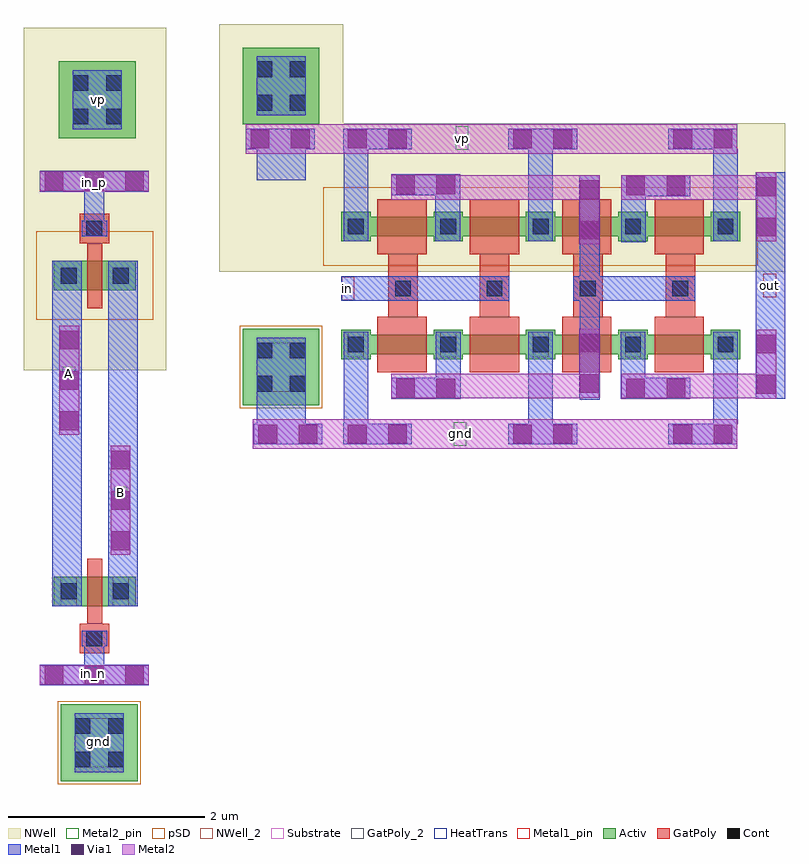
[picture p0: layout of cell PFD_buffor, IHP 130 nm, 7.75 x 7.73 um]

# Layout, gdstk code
import gdstk
lib = gdstk.Library(unit=1e-6, precision=1e-09)
def R(c, l, rs):  # rectangles x0, y0, x1, y1
    for r in rs: c.add(gdstk.rectangle(r[:2], r[2:], *l))
def A(c, l, x, y, w, h, nx, ny, dx, dy):  # array of equal rectangles
    R(c, l, [(x+i*dx, y+j*dy, x+i*dx+w, y+j*dy+h) for i in range(nx) for j in range(ny)])
Activ = (1, 0)
GatPoly = (5, 0)
GatPoly_2 = (5, 2)
Cont = (6, 0)
Metal1 = (8, 0)
Metal1_pin = (8, 2)
Metal2 = (10, 0)
Metal2_pin = (10, 2)
pSD = (14, 0)
Via1 = (19, 0)
NWell = (31, 0)
NWell_2 = (31, 2)
Substrate = (40, 0)
HeatTrans = (51, 0)

pmos = lib.new_cell('pmos')
A(pmos, Activ, 0, 0, 0.3, 0.3, 3, 1, 0.94, 0)
R(pmos, Activ, [(0,0.05,2.18,0.25)])
R(pmos, GatPoly, [(0.37,-0.13,0.87,0.43), (0.37,-0.13,0.87,0.43), (1.31,-0.13,1.81,0.43)])
A(pmos, Cont, 0.07, 0.07, 0.16, 0.16, 3, 1, 0.94, 0)
R(pmos, Metal1, [(0.07,0.02,0.23,0.28), (0.07,0.02,0.23,0.28), (1.01,0.02,1.17,0.28), (1.01,0.02,1.17,0.28), (1.95,0.02,2.11,0.28)])
R(pmos, pSD, [(-0.18,-0.25,2.36,0.55)])
R(pmos, NWell, [(-0.31,-0.31,2.49,0.61)])
R(pmos, Substrate, [(1.88,0,2.18,0.3)])
R(pmos, HeatTrans, [(0.37,-0.13,0.87,0.43), (1.31,-0.13,1.81,0.43)])
pmos.add(gdstk.Label('pmos', (0.62,0.15), layer=63, texttype=0))
pmos.add(gdstk.Label('pmos', (0.62,0.15), layer=51, texttype=0))
pmos.add(gdstk.Label('pmos', (1.56,0.15), layer=51, texttype=0))

via = lib.new_cell('Via')
R(via, Metal1, [(-0.35,-0.105,0.35,0.105)])
R(via, Metal2, [(-0.35,-0.1,0.35,0.1)])
R(via, Via1, [(-0.3,-0.095,-0.11,0.095), (0.11,-0.095,0.3,0.095)])

nmos = lib.new_cell('nmos')
A(nmos, Activ, 0, 0, 0.3, 0.3, 3, 1, 0.94, 0)
R(nmos, Activ, [(0,0.05,2.18,0.25)])
R(nmos, GatPoly, [(0.37,-0.13,0.87,0.43), (1.31,-0.13,1.81,0.43)])
R(nmos, GatPoly_2, [(0.37,-0.13,0.87,0.43)])
A(nmos, Cont, 0.07, 0.07, 0.16, 0.16, 3, 1, 0.94, 0)
A(nmos, Metal1, 0.07, 0.02, 0.16, 0.26, 3, 1, 0.94, 0)
R(nmos, Metal1_pin, [(0.07,0.02,0.23,0.28), (1.01,0.02,1.17,0.28)])
R(nmos, HeatTrans, [(0.37,-0.13,0.87,0.43), (1.31,-0.13,1.81,0.43)])
nmos.add(gdstk.Label('nmos', (0.62,0.15), layer=63, texttype=0))
nmos.add(gdstk.Label('nmos', (0.62,0.15), layer=51, texttype=0))
nmos.add(gdstk.Label('nmos', (1.56,0.15), layer=51, texttype=0))

via_2 = lib.new_cell('Via$2')
R(via_2, GatPoly, [(-0.15,-0.15,0.15,0.15)])
R(via_2, Cont, [(-0.08,-0.08,0.08,0.08)])
R(via_2, Metal1, [(-0.13,-0.08,0.13,0.08)])

via_4 = lib.new_cell('Via$4')
R(via_4, Metal1, [(-0.105,-0.35,0.105,0.35)])
R(via_4, Metal2, [(-0.1,-0.35,0.1,0.35)])
R(via_4, Via1, [(-0.095,-0.3,0.095,-0.11), (-0.095,0.11,0.095,0.3)])

ptap1 = lib.new_cell('ptap1')
R(ptap1, Activ, [(0,0,0.78,0.78)])
R(ptap1, Cont, [(0.14,0.14,0.3,0.3), (0.48,0.14,0.64,0.3), (0.14,0.48,0.3,0.64), (0.48,0.48,0.64,0.64)])
R(ptap1, Metal1, [(0.14,0.09,0.64,0.69), (0.14,0.14,0.64,0.64)])
R(ptap1, Metal1_pin, [(0.14,0.14,0.64,0.64)])
R(ptap1, pSD, [(-0.03,-0.03,0.81,0.81)])
R(ptap1, Substrate, [(0,0,0.78,0.78)])
ptap1.add(gdstk.Label('sub!', (0.39,0.01), layer=63, texttype=0))
ptap1.add(gdstk.Label('sub!', (0.39,0.01), layer=40, texttype=0))

ntap1 = lib.new_cell('ntap1')
R(ntap1, Activ, [(0,0,0.78,0.78)])
R(ntap1, Cont, [(0.14,0.14,0.3,0.3), (0.48,0.14,0.64,0.3), (0.14,0.48,0.3,0.64), (0.48,0.48,0.64,0.64)])
R(ntap1, Metal1, [(0.14,0.09,0.64,0.69)])
R(ntap1, Metal1_pin, [(0.14,0.09,0.64,0.69), (0.14,0.14,0.64,0.64)])
R(ntap1, NWell, [(-0.24,-0.24,1.02,1.02), (0,0,0.78,0.78)])
R(ntap1, NWell_2, [(0,0,0.78,0.78)])
ntap1.add(gdstk.Label('well', (0.39,0.01), layer=31, texttype=0))
ntap1.add(gdstk.Label('well', (0.39,0.01), layer=63, texttype=0))

pmos_2 = lib.new_cell('pmos$2')
R(pmos_2, Activ, [(0,0,0.3,0.3), (0,0,0.83,0.3), (0.53,0,0.83,0.3)])
R(pmos_2, GatPoly, [(0.34,-0.18,0.49,0.48), (0.34,-0.18,0.49,0.48)])
R(pmos_2, Cont, [(0.07,0.07,0.23,0.23), (0.6,0.07,0.76,0.23)])
R(pmos_2, Metal1, [(0.07,0,0.23,0.3), (0.07,0,0.23,0.3), (0.6,0,0.76,0.3), (0.6,0,0.76,0.3)])
R(pmos_2, pSD, [(-0.18,-0.3,1.01,0.6)])
R(pmos_2, NWell, [(-0.31,-0.31,1.14,0.61)])
R(pmos_2, Substrate, [(0.53,0,0.83,0.3)])
R(pmos_2, HeatTrans, [(0.34,-0.18,0.49,0.48)])
pmos_2.add(gdstk.Label('pmos', (0.415,0.15), layer=63, texttype=0))
pmos_2.add(gdstk.Label('pmos', (0.415,0.15), layer=51, texttype=0))

nmos_2 = lib.new_cell('nmos$2')
R(nmos_2, Activ, [(0,0,0.3,0.3), (0,0,0.83,0.3), (0.53,0,0.83,0.3)])
R(nmos_2, GatPoly, [(0.34,-0.18,0.49,0.48)])
R(nmos_2, GatPoly_2, [(0.34,-0.18,0.49,0.48)])
R(nmos_2, Cont, [(0.07,0.07,0.23,0.23), (0.6,0.07,0.76,0.23)])
R(nmos_2, Metal1, [(0.07,0,0.23,0.3), (0.6,0,0.76,0.3)])
R(nmos_2, Metal1_pin, [(0.07,0,0.23,0.3), (0.6,0,0.76,0.3)])
R(nmos_2, HeatTrans, [(0.34,-0.18,0.49,0.48)])
nmos_2.add(gdstk.Label('nmos', (0.415,0.15), layer=63, texttype=0))
nmos_2.add(gdstk.Label('nmos', (0.415,0.15), layer=51, texttype=0))

ptap1_2 = lib.new_cell('ptap1$2')
R(ptap1_2, Activ, [(0,0,0.78,0.78)])
R(ptap1_2, Cont, [(0.14,0.14,0.3,0.3), (0.48,0.14,0.64,0.3), (0.14,0.48,0.3,0.64), (0.48,0.48,0.64,0.64)])
R(ptap1_2, Metal1, [(0.14,0.09,0.64,0.69), (0.14,0.14,0.64,0.64)])
R(ptap1_2, Metal1_pin, [(0.14,0.14,0.64,0.64)])
R(ptap1_2, pSD, [(-0.03,-0.03,0.81,0.81)])
R(ptap1_2, Substrate, [(0,0,0.78,0.78)])
ptap1_2.add(gdstk.Label('sub!', (0.39,0.01), layer=63, texttype=0))
ptap1_2.add(gdstk.Label('sub!', (0.39,0.01), layer=40, texttype=0))

ntap1_2 = lib.new_cell('ntap1$2')
R(ntap1_2, Activ, [(0,0,0.78,0.78)])
R(ntap1_2, Cont, [(0.14,0.14,0.3,0.3), (0.48,0.14,0.64,0.3), (0.14,0.48,0.3,0.64), (0.48,0.48,0.64,0.64)])
R(ntap1_2, Metal1, [(0.14,0.09,0.64,0.69)])
R(ntap1_2, Metal1_pin, [(0.14,0.09,0.64,0.69), (0.14,0.14,0.64,0.64)])
R(ntap1_2, NWell, [(-0.24,-0.24,1.02,1.02), (0,0,0.78,0.78)])
R(ntap1_2, NWell_2, [(0,0,0.78,0.78)])
ntap1_2.add(gdstk.Label('well', (0.39,0.01), layer=31, texttype=0))
ntap1_2.add(gdstk.Label('well', (0.39,0.01), layer=63, texttype=0))

via_10 = lib.new_cell('Via$10')
R(via_10, Metal1, [(-0.555,-0.105,0.555,0.105)])
R(via_10, Metal2, [(-0.555,-0.1,0.555,0.1)])
A(via_10, Via1, -0.505, -0.095, 0.19, 0.19, 3, 1, 0.41, 0)

via_5_2 = lib.new_cell('Via$5$2')
R(via_5_2, GatPoly, [(-0.15,-0.15,0.15,0.15)])
R(via_5_2, Cont, [(-0.08,-0.08,0.08,0.08)])
R(via_5_2, Metal1, [(-0.13,-0.08,0.13,0.08)])

via_3 = lib.new_cell('Via$3')
R(via_3, Metal1, [(-0.105,-0.555,0.105,0.555)])
R(via_3, Metal2, [(-0.1,-0.555,0.1,0.555)])
A(via_3, Via1, -0.095, -0.505, 0.19, 0.19, 1, 3, 0, 0.41)

pfd_buffor = lib.new_cell('PFD_buffor')
R(pfd_buffor, GatPoly, [(-0.23,-0.01,0.07,0.63), (0.7,-0.01,1,0.63), (1.65,-0.01,1.95,0.63), (2.59,-0.01,2.89,0.63)])
R(pfd_buffor, Metal1, [(-1.57,-1.095,-1.07,-0.82), (-1.57,1.38,-1.07,1.71)])
R(pfd_buffor, Metal1_pin, [(-3.245,-4.395,-3.115,-4.265), (-0.705,0.16,-0.575,0.4), (3.585,0.19,3.715,0.43), (-3.245,2.135,-3.115,2.265)])
R(pfd_buffor, Metal2, [(-1.61,-1.35,-0.69,-1.05), (1.375,-0.835,1.75,-0.585), (-1.68,1.65,-1.54,1.95), (-1.54,1.65,-0.69,1.95)])
R(pfd_buffor, Metal2_pin, [(-3.295,-3.705,-3.165,-3.575), (-3.015,-1.865,-2.885,-1.735), (0.435,-1.32,0.565,-1.08), (-3.545,-0.645,-3.415,-0.515), (-3.285,1.295,-3.155,1.425), (0.455,1.69,0.585,1.93)])
R(pfd_buffor, NWell, [(-3.94,-0.55,-2.49,2.83), (-1.95,0.45,3.81,1.96), (-3.94,2.83,-2.49,2.93)])
pfd_buffor.add(gdstk.FlexPath([(-2.93,0.56),(-2.93,-2.95)], 0.3, ends="flush", simple_path=True, layer=8, datatype=0))  # Metal1
pfd_buffor.add(gdstk.FlexPath([(-3.5,0.56),(-3.5,-2.95)], 0.3, ends="flush", simple_path=True, layer=8, datatype=0))  # Metal1
pfd_buffor.add(gdstk.FlexPath([(-3.22,0.81),(-3.22,1.33)], 0.2, ends="flush", simple_path=True, layer=8, datatype=0))  # Metal1
pfd_buffor.add(gdstk.FlexPath([(-3.22,-3.72),(-3.22,-3.2)], 0.2, ends="flush", simple_path=True, layer=8, datatype=0))  # Metal1
pfd_buffor.add(gdstk.FlexPath([(2.265,1.43),(2.265,0.75)], 0.25, ends="flush", simple_path=True, layer=8, datatype=0))  # Metal1
pfd_buffor.add(gdstk.FlexPath([(0.38,-0.16),(0.38,-0.84)], 0.25, ends="flush", simple_path=True, layer=8, datatype=0))  # Metal1
pfd_buffor.add(gdstk.FlexPath([(-0.56,0.76),(-0.56,1.7)], 0.25, ends="flush", simple_path=True, layer=8, datatype=0))  # Metal1
pfd_buffor.add(gdstk.FlexPath([(1.32,0.76),(1.32,1.7)], 0.25, ends="flush", simple_path=True, layer=8, datatype=0))  # Metal1
pfd_buffor.add(gdstk.FlexPath([(3.2,0.76),(3.2,1.7)], 0.25, ends="flush", simple_path=True, layer=8, datatype=0))  # Metal1
pfd_buffor.add(gdstk.FlexPath([(-0.56,-1.1),(-0.56,-0.16)], 0.25, ends="flush", simple_path=True, layer=8, datatype=0))  # Metal1
pfd_buffor.add(gdstk.FlexPath([(1.32,-1.1),(1.32,-0.16)], 0.25, ends="flush", simple_path=True, layer=8, datatype=0))  # Metal1
pfd_buffor.add(gdstk.FlexPath([(3.2,-1.1),(3.2,-0.16)], 0.25, ends="flush", simple_path=True, layer=8, datatype=0))  # Metal1
pfd_buffor.add(gdstk.FlexPath([(0.375,1.44),(0.375,0.76)], 0.25, ends="flush", simple_path=True, layer=8, datatype=0))  # Metal1
pfd_buffor.add(gdstk.FlexPath([(2.26,-0.16),(2.26,-0.84)], 0.25, ends="flush", simple_path=True, layer=8, datatype=0))  # Metal1
pfd_buffor.add(gdstk.FlexPath([(1,0.28),(-0.71,0.28)], 0.25, ends="flush", simple_path=True, layer=8, datatype=0))  # Metal1
pfd_buffor.add(gdstk.FlexPath([(3.66,1.46),(3.66,-0.84)], 0.3, ends="flush", simple_path=True, layer=8, datatype=0))  # Metal1
pfd_buffor.add(gdstk.FlexPath([(1.65,0.28),(2.89,0.28)], 0.25, ends="flush", simple_path=True, layer=8, datatype=0))  # Metal1
pfd_buffor.add(gdstk.FlexPath([(1.82,1.43),(1.82,-0.85)], 0.2, ends="flush", simple_path=True, layer=8, datatype=0))  # Metal1
pfd_buffor.add(gdstk.FlexPath([(2.14,1.305),(3.715,1.305)], 0.25, ends="flush", simple_path=True, layer=10, datatype=0))  # Metal2
pfd_buffor.add(gdstk.FlexPath([(-0.69,1.8),(3.32,1.8)], 0.3, ends="flush", simple_path=True, layer=10, datatype=0))  # Metal2
pfd_buffor.add(gdstk.FlexPath([(-0.69,-1.2),(3.32,-1.2)], 0.3, ends="flush", simple_path=True, layer=10, datatype=0))  # Metal2
pfd_buffor.add(gdstk.FlexPath([(2.14,-0.71),(3.715,-0.71)], 0.25, ends="flush", simple_path=True, layer=10, datatype=0))  # Metal2
pfd_buffor.add(gdstk.FlexPath([(-0.2,-0.71),(1.375,-0.71)], 0.25, ends="flush", simple_path=True, layer=10, datatype=0))  # Metal2
pfd_buffor.add(gdstk.FlexPath([(-0.2,1.305),(1.92,1.305)], 0.25, ends="flush", simple_path=True, layer=10, datatype=0))  # Metal2
pfd_buffor.add(gdstk.Reference(pmos, (-0.71,0.76)))
pfd_buffor.add(gdstk.Reference(pmos, (1.17,0.76)))
pfd_buffor.add(gdstk.Reference(via, (1.34,-1.2)))
pfd_buffor.add(gdstk.Reference(nmos, (1.17,-0.44)))
pfd_buffor.add(gdstk.Reference(via, (1.34,1.8)))
pfd_buffor.add(gdstk.Reference(via, (2.97,1.8)))
pfd_buffor.add(gdstk.Reference(via, (2.97,-1.2)))
pfd_buffor.add(gdstk.Reference(via, (-0.34,-1.2)))
pfd_buffor.add(gdstk.Reference(via_2, (-0.08,0.28)))
pfd_buffor.add(gdstk.Reference(via_2, (0.85,0.28)))
pfd_buffor.add(gdstk.Reference(via, (0.15,-0.735)))
pfd_buffor.add(gdstk.Reference(via_2, (1.8,0.28)))
pfd_buffor.add(gdstk.Reference(via_2, (2.74,0.28)))
pfd_buffor.add(gdstk.Reference(nmos, (-0.71,-0.44)))
pfd_buffor.add(gdstk.Reference(via, (0.15,1.335)))
pfd_buffor.add(gdstk.Reference(via, (2.49,1.325)))
pfd_buffor.add(gdstk.Reference(via, (2.49,-0.735)))
pfd_buffor.add(gdstk.Reference(via_4, (3.615,1.11)))
pfd_buffor.add(gdstk.Reference(via_4, (3.615,-0.49)))
pfd_buffor.add(gdstk.Reference(via_4, (1.815,-0.48)))
pfd_buffor.add(gdstk.Reference(via_4, (1.815,1.08)))
pfd_buffor.add(gdstk.Reference(via, (-0.34,1.8)))
pfd_buffor.add(gdstk.Reference(ptap1, (-1.71,-0.91)))
pfd_buffor.add(gdstk.Reference(via, (-1.25,-1.2)))
pfd_buffor.add(gdstk.Reference(via, (-1.33,1.8)))
pfd_buffor.add(gdstk.Reference(ntap1, (-1.71,1.95)))
pfd_buffor.add(gdstk.Reference(pmos_2, (-3.63,0.26)))
pfd_buffor.add(gdstk.Reference(nmos_2, (-3.63,-2.95)))
pfd_buffor.add(gdstk.Reference(ptap1_2, (-3.56,-4.73)))
pfd_buffor.add(gdstk.Reference(ntap1_2, (-3.58,1.81)))
pfd_buffor.add(gdstk.Reference(via_10, (-3.22,1.37)))
pfd_buffor.add(gdstk.Reference(via_5_2, (-3.22,0.89)))
pfd_buffor.add(gdstk.Reference(via_5_2, (-3.22,-3.28)))
pfd_buffor.add(gdstk.Reference(via_10, (-3.22,-3.65)))
pfd_buffor.add(gdstk.Reference(via_3, (-3.475,-0.655)))
pfd_buffor.add(gdstk.Reference(via_3, (-2.955,-1.875)))
pfd_buffor.add(gdstk.Label('gnd', (-3.18,-4.33), layer=8, texttype=25))
pfd_buffor.add(gdstk.Label('vp', (-3.18,2.2), layer=8, texttype=25))
pfd_buffor.add(gdstk.Label('in', (-0.64,0.28), layer=8, texttype=25))
pfd_buffor.add(gdstk.Label('out', (3.65,0.31), layer=8, texttype=25))
pfd_buffor.add(gdstk.Label('A', (-3.48,-0.58), layer=10, texttype=25))
pfd_buffor.add(gdstk.Label('B', (-2.95,-1.8), layer=10, texttype=25))
pfd_buffor.add(gdstk.Label('in_p', (-3.22,1.36), layer=10, texttype=25))
pfd_buffor.add(gdstk.Label('in_n', (-3.23,-3.64), layer=10, texttype=25))
pfd_buffor.add(gdstk.Label('gnd', (0.5,-1.2), layer=10, texttype=25))
pfd_buffor.add(gdstk.Label('vp', (0.52,1.81), layer=10, texttype=25))

lib.write_gds('PFD_buffor.gds')
